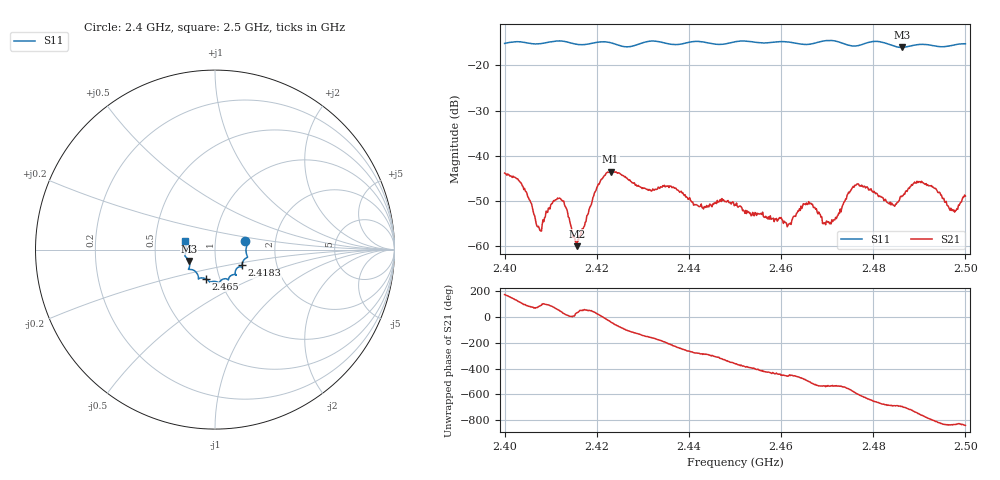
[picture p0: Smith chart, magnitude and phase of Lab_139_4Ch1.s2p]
# Hz S RI R 50
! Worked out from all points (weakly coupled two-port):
!   601 points, 2.4 GHz to 2.5 GHz, reference 50 ohm
!   highest |S21| = -43.49 dB at 2.423 GHz (marker M1); lowest = -60.0 dB at 2.4157 GHz (marker M2)
!   lowest |S11| = -16.0 dB at 2.4862 GHz (marker M3), VSWR 1.38, Z = 37.1 - j4.81 ohm
!   |S11| at or under -10 dB: start of sweep to end of sweep
!   S12 and S22 are empty: the file has one direction only
!   S11 on the Smith chart (normalised r, x): 2.4 GHz: 1.40, +0.13; 2.4183 GHz: 1.33, -0.24; 2.465 GHz: 0.86, -0.29; 2.5 GHz: 0.71, +0.07
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2.4e9  0.1687 0.0456  -0.00642 0.000515  0 0  0 0
2.403833e9  0.1791 0.0278  -0.00129 0.00448  0 0  0 0
2.4075e9  0.1729 -0.00966  0.000155 0.00159  0 0  0 0
2.412333e9  0.181 -0.0426  0.00243 0.00213  0 0  0 0
2.415667e9  0.1607 -0.0581  0.000837 0.000549  0 0  0 0
2.416667e9  0.1549 -0.0682  0.000936 0.00115  0 0  0 0
2.418333e9  0.1498 -0.0867  0.00152 0.00206  0 0  0 0
2.4205e9  0.151 -0.0999  0.0046 0.0015  0 0  0 0
2.423e9  0.1488 -0.0979  0.0053 -0.00409  0 0  0 0
2.433333e9  0.1168 -0.1413  -0.00449 -0.000336  0 0  0 0
2.442667e9  0.0728 -0.1677  0.000793 0.00282  0 0  0 0
2.45e9  0.0251 -0.1807  0.00287 -0.000102  0 0  0 0
2.461667e9  -0.0318 -0.1784  -0.000242 -0.00174  0 0  0 0
2.465e9  -0.0529 -0.1621  -0.00167 -0.0024  0 0  0 0
2.466667e9  -0.0714 -0.1576  -0.00261 -0.00126  0 0  0 0
2.471e9  -0.0924 -0.164  -0.00195 -0.000169  0 0  0 0
2.4765e9  -0.1161 -0.1165  -0.00267 0.00409  0 0  0 0
2.483333e9  -0.142 -0.096  0.00247 0.00168  0 0  0 0
2.486167e9  -0.1448 -0.0633  0.00316 0.00157  0 0  0 0
2.49e9  -0.1663 -0.0368  0.00426 -0.00292  0 0  0 0
2.497167e9  -0.164 0.0289  -0.0012 -0.00224  0 0  0 0
2.5e9  -0.1668 0.0472  -0.00194 -0.00302  0 0  0 0
